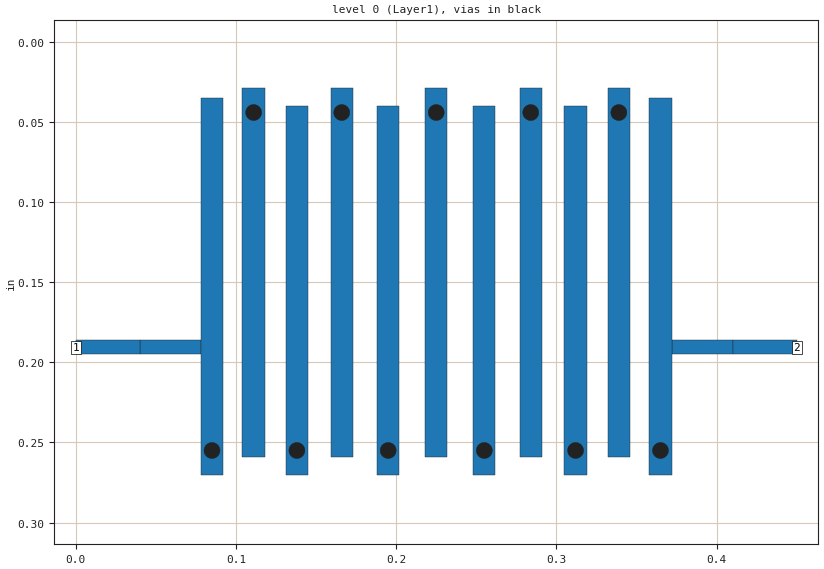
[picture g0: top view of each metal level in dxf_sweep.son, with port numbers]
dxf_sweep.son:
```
FTYP SONPROJ 19 ! Sonnet Project File
VER "18.53"
HEADER
LIC sonnetexample.0000
DAT 05/12/2021 15:53:37
BUILT_BY_CREATED example "18.53" 10/19/2021 01:59:07
BUILT_BY_SAVED example "18.53"
MDATE 03/20/2013 16:01:08
HDATE 03/20/2013 16:01:08
EXF
END HEADER
DIM
ANG DEG
CAP PF
CON /OH
FREQ GHZ
IND NH
LNG IN
RES OH
END DIM
CONTROL
VARSWP
OPTIONS
SPEED 0
CACHE_ABS 1
Q_ACC N
END CONTROL
GEO
DRP1 LEFT LINK
POLY 159 1
1
DRP1 RIGHT LINK
POLY 158 1
3
TMET "PEC" 0 SUP 0 0 0 0
BMET "PEC" 0 SUP 0 0 0 0
MET "0.5oz_Copper" 1 NOR 58000000 0.5 0.0007 
MET "Copper_Vias" 2 VOL 58000000 0.001
BOX 1 0.45 0.3 384 256 20 0
      0.1 1 1 0 0 0 0 "Air"
      0.01 11.2 1 0.0022 0 0 0 "Rogers RO3010"
TECHLAY METAL Layer1 Layer1 -2 -65534 
0 0 -1 N 0 1 1 100 100 0 0 0 Y
END
END
TECHLAY VIA Via-1 Vias -4 -65534 
VIA POLYGON
0 0 -1 N 0 1 1 100 100 0 0 0 Y
TOLEVEL 1 RING NOCOVERS
END
END
TECHLAY METAL Symbols Symbols -1 -65534 
1 0 -1 N 0 1 1 100 100 0 0 0 Y
END
END
LORGN -0.279 0.376 U 
POR1 BOX
POLY 159 1
3
1 50 0 0 0 0 0.1904999954 
POR1 BOX
POLY 161 1
3
2 50 0 0 0 0.45 0.1905 
NUM 26
0 5 -1 N 157 1 1 100 100 0 0 0 Y
TLAYNAM Layer1 NOH
0.0779999977 0.1950000033
0.03999999892 0.1950000033
0.03999999892 0.186
0.0779999977 0.186
0.0779999977 0.1950000033
END
0 5 -1 N 158 1 1 100 100 0 0 0 Y
TLAYNAM Layer1 NOH
0.41 0.1950000033
0.3719999826 0.1950000033
0.3719999826 0.186
0.41 0.186
0.41 0.1950000033
END
0 5 -1 N 159 1 1 100 100 0 0 0 Y
TLAYNAM Layer1 INH
0 0.1859999907
0.04000000213 0.1859999907
0.04000000213 0.195
0 0.195
0 0.1859999907
END
0 5 -1 N 161 1 1 100 100 0 0 0 Y
TLAYNAM Layer1 INH
0.45 0.186
0.41 0.186
0.41 0.195
0.45 0.195
0.45 0.186
END
0 5 -1 N 163 1 1 100 100 0 0 0 Y
TLAYNAM Layer1 NOH
0.2619999981 0.04000000957
0.2619999981 0.2700000212
0.2479999995 0.2700000212
0.2479999995 0.04000000957
0.2619999981 0.04000000957
END
0 5 -1 N 164 1 1 100 100 0 0 0 Y
TLAYNAM Layer1 NOH
0.2769999837 0.2590000138
0.2769999837 0.02900000218
0.2909999823 0.02900000218
0.2909999823 0.2590000138
0.2769999837 0.2590000138
END
0 5 -1 N 165 1 1 100 100 0 0 0 Y
TLAYNAM Layer1 NOH
0.1589999979 0.2590000138
0.1589999979 0.02900000218
0.1729999965 0.02900000218
0.1729999965 0.2590000138
0.1589999979 0.2590000138
END
0 5 -1 N 166 1 1 100 100 0 0 0 Y
TLAYNAM Layer1 NOH
0.3719999826 0.03500001434
0.3719999826 0.2700000212
0.357999984 0.2700000212
0.357999984 0.03500001434
0.3719999826 0.03500001434
END
0 5 -1 N 167 1 1 100 100 0 0 0 Y
TLAYNAM Layer1 NOH
0.2019999957 0.04000000957
0.2019999957 0.2700000212
0.1879999971 0.2700000212
0.1879999971 0.04000000957
0.2019999957 0.04000000957
END
0 5 -1 N 168 1 1 100 100 0 0 0 Y
TLAYNAM Layer1 NOH
0.09199999627 0.03500001434
0.09199999627 0.2700000212
0.0779999977 0.2700000212
0.0779999977 0.03500001434
0.09199999627 0.03500001434
END
0 5 -1 N 169 1 1 100 100 0 0 0 Y
TLAYNAM Layer1 NOH
0.1449999994 0.04000000957
0.1449999994 0.2700000212
0.1310000008 0.2700000212
0.1310000008 0.04000000957
0.1449999994 0.04000000957
END
0 5 -1 N 170 1 1 100 100 0 0 0 Y
TLAYNAM Layer1 NOH
0.3190000093 0.04000000957
0.3190000093 0.2700000212
0.3050000107 0.2700000212
0.3050000107 0.04000000957
0.3190000093 0.04000000957
END
0 5 -1 N 171 1 1 100 100 0 0 0 Y
TLAYNAM Layer1 NOH
0.1039999982 0.2590000138
0.1039999982 0.02900000218
0.1179999968 0.02900000218
0.1179999968 0.2590000138
0.1039999982 0.2590000138
END
0 5 -1 N 172 1 1 100 100 0 0 0 Y
TLAYNAM Layer1 NOH
0.2179999983 0.2590000138
0.2179999983 0.02900000218
0.2319999969 0.02900000218
0.2319999969 0.2590000138
0.2179999983 0.2590000138
END
0 5 -1 N 173 1 1 100 100 0 0 0 Y
TLAYNAM Layer1 NOH
0.3319999909 0.2590000138
0.3319999909 0.02900000218
0.3459999895 0.02900000218
0.3459999895 0.2590000138
0.3319999909 0.2590000138
END
VIA POLYGON
0 37 -1 N 175 1 1 100 100 0 0 0 Y
TOLEVEL 1 RING NOCOVERS
TLAYNAM Via-1 INH
0.08999999966 0.2550000057
0.08992403354 0.2541317746
0.08969845977 0.2532899186
0.08933012541 0.2525000081
0.08883022126 0.2517860636
0.08821393158 0.2511697814
0.0874999946 0.2506698773
0.08671009894 0.2503015504
0.08586823549 0.2500759766
0.08499999698 0.2500000105
0.08413175847 0.2500759766
0.08328989502 0.2503015504
0.08249999936 0.2506698773
0.08178606238 0.2511697814
0.08116977271 0.2517860636
0.08066986855 0.2525000081
0.0803015342 0.2532899186
0.08007596042 0.2541317746
0.0799999943 0.2550000057
0.08007596042 0.2558682368
0.0803015342 0.2567100928
0.08066986855 0.2575000033
0.08116977271 0.2582139477
0.08178605493 0.25883023
0.08249999191 0.2593301341
0.08328989502 0.259698461
0.08413175102 0.2599240348
0.08499999698 0.2600000009
0.08586823549 0.2599240348
0.08671009149 0.259698461
0.0874999946 0.2593301341
0.08821393158 0.25883023
0.08883021381 0.2582139477
0.08933012541 0.2575000033
0.08969845977 0.2567101226
0.08992403354 0.2558682368
0.08999999966 0.2550000057
END
VIA POLYGON
0 37 -1 N 176 1 1 100 100 0 0 0 Y
TOLEVEL 1 RING NOCOVERS
TLAYNAM Via-1 INH
0.2299999928 0.04400001767
0.2299240416 0.04313178662
0.2296984678 0.04228993061
0.229330126 0.04150002006
0.2288302219 0.04078607562
0.2282139396 0.0401697934
0.2274999952 0.03966988924
0.2267100995 0.03930156234
0.2258682435 0.03907598856
0.2249999976 0.03900002244
0.2241317516 0.03907598856
0.2232898956 0.03930156234
0.2225 0.03966988924
0.2217860555 0.0401697934
0.2211697733 0.04078607562
0.2206698691 0.04150002006
0.2203015422 0.04228990081
0.2200759536 0.04313178662
0.2200000023 0.04400001767
0.2200759536 0.04486824873
0.2203015273 0.04571010474
0.2206698691 0.04650001529
0.2211697733 0.04721395973
0.2217860555 0.04783024195
0.2225 0.04833014611
0.2232898956 0.04869847301
0.2241317516 0.04892404679
0.2249999976 0.04900001291
0.2258682286 0.04892404679
0.2267100995 0.04869847301
0.2274999952 0.04833014611
0.2282139396 0.04783024195
0.2288302219 0.04721395973
0.229330126 0.04650001529
0.2296984529 0.04571013454
0.2299240416 0.04486824873
0.2299999928 0.04400001767
END
VIA POLYGON
0 37 -1 N 177 1 1 100 100 0 0 0 Y
TOLEVEL 1 RING NOCOVERS
TLAYNAM Via-1 INH
0.1999999916 0.2550000057
0.1999240404 0.2541317746
0.1996984666 0.2532899186
0.1993301248 0.2525000081
0.1988302207 0.2517860636
0.1982139384 0.2511697814
0.197499994 0.2506698773
0.1967100983 0.2503015504
0.1958682423 0.2500759766
0.1949999964 0.2500000105
0.1941317504 0.2500759766
0.1932898944 0.2503015504
0.1924999988 0.2506698773
0.1917860543 0.2511697814
0.1911697721 0.2517860636
0.190669868 0.2525000081
0.1903015411 0.2532899186
0.1900759524 0.2541317746
0.1900000012 0.2550000057
0.1900759524 0.2558682368
0.1903015261 0.2567100928
0.190669868 0.2575000033
0.1911697721 0.2582139477
0.1917860543 0.25883023
0.1924999988 0.2593301341
0.1932898944 0.259698461
0.1941317504 0.2599240348
0.1949999964 0.2600000009
0.1958682274 0.2599240348
0.1967100983 0.259698461
0.197499994 0.2593301341
0.1982139384 0.25883023
0.1988302207 0.2582139477
0.1993301248 0.2575000033
0.1996984517 0.2567101226
0.1999240404 0.2558682368
0.1999999916 0.2550000057
END
VIA POLYGON
0 37 -1 N 178 1 1 100 100 0 0 0 Y
TOLEVEL 1 RING NOCOVERS
TLAYNAM Via-1 INH
0.259999994 0.2550000057
0.2599240279 0.2541317746
0.2596984541 0.2532899186
0.2593301272 0.2525000081
0.258830223 0.2517860636
0.2582139408 0.2511697814
0.2574999964 0.2506698773
0.2567100858 0.2503015504
0.2558682298 0.2500759766
0.2549999988 0.2500000105
0.2541317677 0.2500759766
0.2532899117 0.2503015504
0.2525000012 0.2506698773
0.2517860567 0.2511697814
0.2511697745 0.2517860636
0.2506698703 0.2525000081
0.2503015434 0.2532899186
0.2500759548 0.2541317746
0.2500000035 0.2550000057
0.2500759548 0.2558682368
0.2503015285 0.2567100928
0.2506698703 0.2575000033
0.2511697745 0.2582139477
0.2517860567 0.25883023
0.2525000012 0.2593301341
0.2532898819 0.259698461
0.2541317677 0.2599240348
0.2549999988 0.2600000009
0.2558682298 0.2599240348
0.2567100858 0.259698461
0.2574999964 0.2593301341
0.2582139408 0.25883023
0.258830223 0.2582139477
0.2593301272 0.2575000033
0.2596984541 0.2567101226
0.2599240279 0.2558682368
0.259999994 0.2550000057
END
VIA POLYGON
0 37 -1 N 179 1 1 100 100 0 0 0 Y
TOLEVEL 1 RING NOCOVERS
TLAYNAM Via-1 INH
0.1429999953 0.2550000057
0.1429240441 0.2541317746
0.1426984703 0.2532899186
0.1423301285 0.2525000081
0.1418302244 0.2517860636
0.1412139421 0.2511697814
0.1404999977 0.2506698773
0.139710102 0.2503015504
0.138868246 0.2500759766
0.1380000001 0.2500000105
0.1371317541 0.2500759766
0.1362898981 0.2503015504
0.1355000025 0.2506698773
0.134786058 0.2511697814
0.1341697758 0.2517860636
0.1336698716 0.2525000081
0.1333015447 0.2532899186
0.1330759561 0.2541317746
0.1330000048 0.2550000057
0.1330759561 0.2558682368
0.1333015298 0.2567100928
0.1336698716 0.2575000033
0.1341697758 0.2582139477
0.134786058 0.25883023
0.1355000025 0.2593301341
0.1362898981 0.259698461
0.1371317541 0.2599240348
0.1380000001 0.2600000009
0.1388682311 0.2599240348
0.139710102 0.259698461
0.1404999977 0.2593301341
0.1412139421 0.25883023
0.1418302244 0.2582139477
0.1423301285 0.2575000033
0.1426984554 0.2567101226
0.1429240441 0.2558682368
0.1429999953 0.2550000057
END
VIA POLYGON
0 37 -1 N 180 1 1 100 100 0 0 0 Y
TOLEVEL 1 RING NOCOVERS
TLAYNAM Via-1 INH
0.3170000052 0.2550000057
0.3169240391 0.2541317746
0.3166984653 0.2532899186
0.3163301384 0.2525000081
0.3158302343 0.2517860636
0.315213952 0.2511697814
0.3145000076 0.2506698773
0.313710097 0.2503015504
0.312868241 0.2500759766
0.31200001 0.2500000105
0.3111317789 0.2500759766
0.3102899229 0.2503015504
0.3095000124 0.2506698773
0.3087860679 0.2511697814
0.3081697857 0.2517860636
0.3076698815 0.2525000081
0.3073015546 0.2532899186
0.3070759809 0.2541317746
0.3070000147 0.2550000057
0.3070759809 0.2558682368
0.3073015546 0.2567100928
0.3076698815 0.2575000033
0.3081697857 0.2582139477
0.3087860679 0.25883023
0.3095000124 0.2593301341
0.3102898931 0.259698461
0.3111317789 0.2599240348
0.31200001 0.2600000009
0.312868241 0.2599240348
0.313710097 0.259698461
0.3145000076 0.2593301341
0.315213952 0.25883023
0.3158302343 0.2582139477
0.3163301384 0.2575000033
0.3166984653 0.2567101226
0.3169240391 0.2558682368
0.3170000052 0.2550000057
END
VIA POLYGON
0 37 -1 N 181 1 1 100 100 0 0 0 Y
TOLEVEL 1 RING NOCOVERS
TLAYNAM Via-1 INH
0.1709999925 0.04400001767
0.1709240412 0.04313178662
0.1706984675 0.04228993061
0.1703301257 0.04150002006
0.1698302215 0.04078607562
0.1692139393 0.0401697934
0.1684999948 0.03966988924
0.1677100992 0.03930156234
0.1668682432 0.03907598856
0.1659999972 0.03900002244
0.1651317513 0.03907598856
0.1642898953 0.03930156234
0.1634999996 0.03966988924
0.1627860552 0.0401697934
0.1621697729 0.04078607562
0.1616698688 0.04150002006
0.1613015419 0.04228990081
0.1610759532 0.04313178662
0.161000002 0.04400001767
0.1610759532 0.04486824873
0.161301527 0.04571010474
0.1616698688 0.04650001529
0.1621697729 0.04721395973
0.1627860552 0.04783024195
0.1634999996 0.04833014611
0.1642898953 0.04869847301
0.1651317513 0.04892404679
0.1659999972 0.04900001291
0.1668682283 0.04892404679
0.1677100992 0.04869847301
0.1684999948 0.04833014611
0.1692139393 0.04783024195
0.1698302215 0.04721395973
0.1703301257 0.04650001529
0.1706984526 0.04571013454
0.1709240412 0.04486824873
0.1709999925 0.04400001767
END
VIA POLYGON
0 37 -1 N 182 1 1 100 100 0 0 0 Y
TOLEVEL 1 RING NOCOVERS
TLAYNAM Via-1 INH
0.2889999783 0.04400001767
0.2889240121 0.04313178662
0.2886984384 0.04228993061
0.2883301115 0.04150002006
0.2878302073 0.04078607562
0.2872139251 0.0401697934
0.2864999806 0.03966988924
0.2857100701 0.03930156234
0.2848682141 0.03907598856
0.283999983 0.03900002244
0.283131752 0.03907598856
0.282289896 0.03930156234
0.2814999854 0.03966988924
0.280786041 0.0401697934
0.2801697588 0.04078607562
0.2796698546 0.04150002006
0.2793015277 0.04228990081
0.2790759539 0.04313178662
0.2789999878 0.04400001767
0.2790759539 0.04486824873
0.2793015277 0.04571010474
0.2796698546 0.04650001529
0.2801697588 0.04721395973
0.280786041 0.04783024195
0.2814999854 0.04833014611
0.2822898662 0.04869847301
0.283131752 0.04892404679
0.283999983 0.04900001291
0.2848682141 0.04892404679
0.2857100701 0.04869847301
0.2864999806 0.04833014611
0.2872139251 0.04783024195
0.2878302073 0.04721395973
0.2883301115 0.04650001529
0.2886984384 0.04571013454
0.2889240121 0.04486824873
0.2889999783 0.04400001767
END
VIA POLYGON
0 37 -1 N 183 1 1 100 100 0 0 0 Y
TOLEVEL 1 RING NOCOVERS
TLAYNAM Via-1 INH
0.3439999854 0.04400001767
0.3439240193 0.04313178662
0.3436984455 0.04228993061
0.3433301186 0.04150002006
0.3428302145 0.04078607562
0.3422139322 0.0401697934
0.3414999878 0.03966988924
0.3407100772 0.03930156234
0.3398682212 0.03907598856
0.3389999902 0.03900002244
0.3381317591 0.03907598856
0.3372899031 0.03930156234
0.3364999926 0.03966988924
0.3357860481 0.0401697934
0.3351697659 0.04078607562
0.3346698618 0.04150002006
0.3343015349 0.04228990081
0.3340759611 0.04313178662
0.333999995 0.04400001767
0.3340759611 0.04486824873
0.3343015349 0.04571010474
0.3346698618 0.04650001529
0.3351697659 0.04721395973
0.3357860481 0.04783024195
0.3364999926 0.04833014611
0.3372898733 0.04869847301
0.3381317591 0.04892404679
0.3389999902 0.04900001291
0.3398682212 0.04892404679
0.3407100772 0.04869847301
0.3414999878 0.04833014611
0.3422139322 0.04783024195
0.3428302145 0.04721395973
0.3433301186 0.04650001529
0.3436984455 0.04571013454
0.3439240193 0.04486824873
0.3439999854 0.04400001767
END
VIA POLYGON
0 37 -1 N 184 1 1 100 100 0 0 0 Y
TOLEVEL 1 RING NOCOVERS
TLAYNAM Via-1 INH
0.1160000002 0.04400001767
0.1159240341 0.04313178662
0.1156984603 0.04228993061
0.1153301259 0.04150002006
0.1148302218 0.04078607562
0.1142139321 0.0401697934
0.1134999951 0.03966988924
0.1127100995 0.03930156234
0.111868236 0.03907598856
0.1109999975 0.03900002244
0.110131759 0.03907598856
0.1092898956 0.03930156234
0.1084999999 0.03966988924
0.1077860629 0.0401697934
0.1071697732 0.04078607562
0.1066698691 0.04150002006
0.1063015347 0.04228990081
0.106075961 0.04313178662
0.1059999948 0.04400001767
0.106075961 0.04486824873
0.1063015347 0.04571010474
0.1066698691 0.04650001529
0.1071697732 0.04721395973
0.1077860555 0.04783024195
0.1084999925 0.04833014611
0.1092898956 0.04869847301
0.1101317516 0.04892404679
0.1109999975 0.04900001291
0.111868236 0.04892404679
0.112710092 0.04869847301
0.1134999951 0.04833014611
0.1142139321 0.04783024195
0.1148302143 0.04721395973
0.1153301259 0.04650001529
0.1156984603 0.04571013454
0.1159240341 0.04486824873
0.1160000002 0.04400001767
END
VIA POLYGON
0 37 -1 N 185 1 1 100 100 0 0 0 Y
TOLEVEL 1 RING NOCOVERS
TLAYNAM Via-1 INH
0.3699999785 0.2550000057
0.3699240124 0.2541317746
0.3696984386 0.2532899186
0.3693301117 0.2525000081
0.3688302075 0.2517860636
0.3682139253 0.2511697814
0.3674999809 0.2506698773
0.3667100703 0.2503015504
0.3658682143 0.2500759766
0.3649999833 0.2500000105
0.3641317522 0.2500759766
0.3632898962 0.2503015504
0.3624999857 0.2506698773
0.3617860412 0.2511697814
0.361169759 0.2517860636
0.3606698548 0.2525000081
0.3603015279 0.2532899186
0.3600759542 0.2541317746
0.359999988 0.2550000057
0.3600759542 0.2558682368
0.3603015279 0.2567100928
0.3606698548 0.2575000033
0.361169759 0.2582139477
0.3617860412 0.25883023
0.3624999857 0.2593301341
0.3632898664 0.259698461
0.3641317522 0.2599240348
0.3649999833 0.2600000009
0.3658682143 0.2599240348
0.3667100703 0.259698461
0.3674999809 0.2593301341
0.3682139253 0.25883023
0.3688302075 0.2582139477
0.3693301117 0.2575000033
0.3696984386 0.2567101226
0.3699240124 0.2558682368
0.3699999785 0.2550000057
END
END GEO
OPT
MAX 100
END OPT
VARSWP
ENABLED Y
FREQ Y AN SWEEP 4.5 5.5 0.05
END
END VARSWP
```
